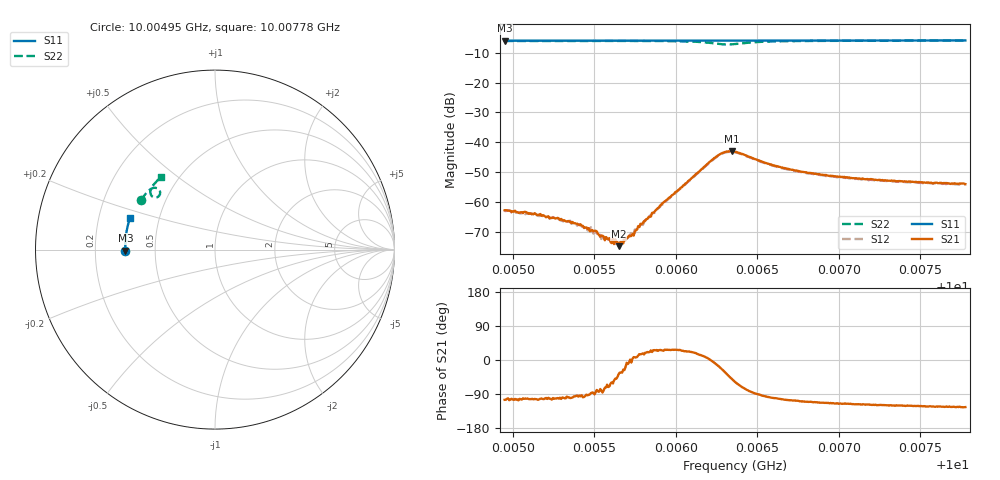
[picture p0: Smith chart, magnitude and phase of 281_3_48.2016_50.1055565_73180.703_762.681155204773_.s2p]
#  HZ  S  RI  R  50.00
! Rohde & Schwarz Vector Network Analyzer
! Rohde-Schwarz,ZNB20-2Port,1311601062101988,3.16
! Created: UTC 3/20/2024, 11:48:41 AM
! freq[Hz]  re:S11  im:S11  re:S21  im:S21  re:S12  im:S12  re:S22  im:S22
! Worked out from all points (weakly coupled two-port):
!   401 points, 10.00495 GHz to 10.00778 GHz, reference 50 ohm
!   highest |S21| = -42.94 dB at 10.00634 GHz (marker M1); lowest = -74.7 dB at 10.00565 GHz (marker M2)
!   lowest |S11| = -6.0 dB at 10.00495 GHz (marker M3), VSWR 3.00, Z = 16.7 - j0.236 ohm
!   |S11| at or under -10 dB: nowhere
!   |S22| runs from -7.3 to -6.0 dB; largest |S21 - S12| = 0.00042
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1.000495e10  -0.4994 -0.00531  -0.000192 -0.00071  -0.000159 -0.000692  -0.4109 0.2749
1.0005084e10  -0.4997 0.00352  -0.000143 -0.000665  -0.000116 -0.000637  -0.4061 0.2829
1.0005261e10  -0.4999 0.0148  -0.000108 -0.000524  -8.44e-05 -0.000524  -0.399 0.2935
1.0005296e10  -0.4998 0.0171  -0.000116 -0.000513  -8.04e-05 -0.00049  -0.3978 0.2955
1.0005339e10  -0.4998 0.02  -7.32e-05 -0.000481  -3.09e-05 -0.000472  -0.3958 0.298
1.0005424e10  -0.4999 0.0253  -2.22e-05 -0.000405  -1.88e-05 -0.000395  -0.3923 0.3031
1.0005501e10  -0.4996 0.0304  -4.15e-06 -0.000334  2.83e-05 -0.000325  -0.3887 0.3078
1.0005565e10  -0.4996 0.0345  6.72e-05 -0.000221  0.000103 -0.000223  -0.3858 0.3118
1.0005607e10  -0.4994 0.0373  0.000107 -0.000178  0.000123 -0.000172  -0.3835 0.3144
1.000565e10  -0.4993 0.0401  0.000147 -0.000111  0.000184 -0.00012  -0.3811 0.317
1.0005664e10  -0.4993 0.0409  0.000185 -0.00012  0.000176 -0.000113  -0.3805 0.3179
1.0005734e10  -0.499 0.0455  0.000297 1.64e-05  0.000298 1.87e-05  -0.3762 0.3224
1.0005784e10  -0.4988 0.0488  0.000422 0.000112  0.000405 0.000116  -0.3732 0.3255
1.0005897e10  -0.4982 0.0561  0.00074 0.000357  0.000716 0.00039  -0.365 0.333
1.0006236e10  -0.4954 0.0779  0.00544 -0.000681  0.00532 -0.000367  -0.3088 0.3293
1.0006293e10  -0.4949 0.0813  0.00596 -0.00317  0.00601 -0.00288  -0.3075 0.3065
1.0006342e10  -0.4945 0.0842  0.00462 -0.00542  0.00477 -0.00508  -0.3227 0.2912
1.0006363e10  -0.4944 0.0854  0.00372 -0.0059  0.00396 -0.00558  -0.3315 0.2895
1.0006604e10  -0.4925 0.1008  -0.000756 -0.00403  -0.000549 -0.00399  -0.3596 0.3288
1.0006837e10  -0.4898 0.1156  -0.00108 -0.00285  -0.000969 -0.00282  -0.3495 0.3516
1.000731e10  -0.4829 0.1453  -0.00115 -0.002  -0.00102 -0.002  -0.3259 0.3802
1.0007776e10  -0.4742 0.1742  -0.00113 -0.00166  -0.00103 -0.00169  -0.3022 0.4023
